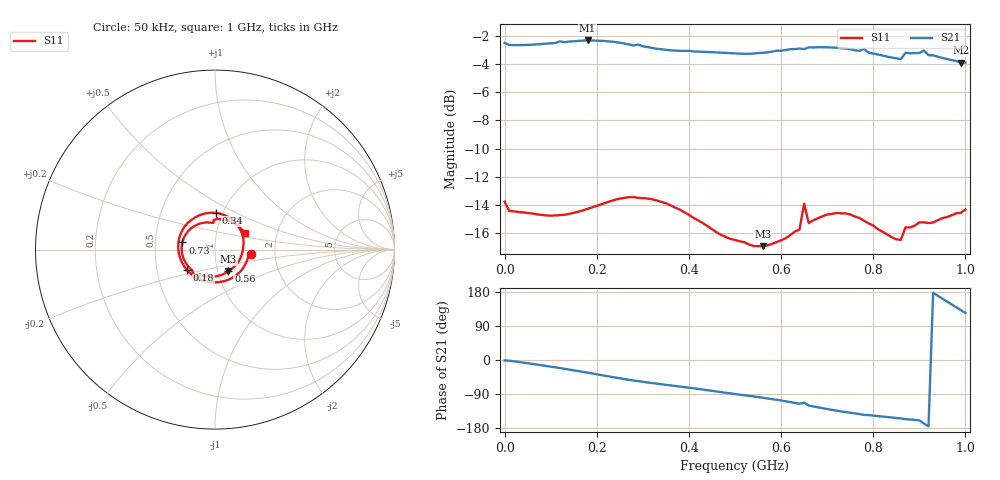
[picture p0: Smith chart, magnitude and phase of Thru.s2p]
# HZ S RI R 50
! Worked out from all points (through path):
!   101 points, 50 kHz to 1 GHz, reference 50 ohm
!   highest |S21| = -2.31 dB at 180 MHz (marker M1); lowest = -3.9 dB at 990 MHz (marker M2)
!   group delay of S21, straight-line fit = 545 ps
!   lowest |S11| = -16.9 dB at 560 MHz (marker M3), VSWR 1.33, Z = 56.3 - j13.9 ohm
!   |S11| at or under -10 dB: start of sweep to end of sweep
!   S12 and S22 are empty: the file has one direction only
!   S11 on the Smith chart (normalised r, x): 50 kHz: 1.51, -0.08; 180 MHz: 0.72, -0.17; 340 MHz: 0.93, +0.40; 560 MHz: 1.13, -0.28; 730 MHz: 0.69, +0.06; 1 GHz: 1.37, +0.27
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50000  0.2032 -0.0258  0.7515 -0.0173  0 0  0 0
9.00455e7  0.0496 -0.1761  0.7191 -0.2026  0 0  0 0
1.700415e8  -0.1359 -0.1337  0.6543 -0.3982  0 0  0 0
1.80041e8  -0.1546 -0.1156  0.6401 -0.4222  0 0  0 0
2.500375e8  -0.1976 0.0709  0.5005 -0.5619  0 0  0 0
3.00035e8  -0.1083 0.1807  0.3928 -0.6162  0 0  0 0
3.40033e8  0.00401 0.2044  0.3135 -0.6409  0 0  0 0
4.100295e8  0.1418 0.1097  0.1865 -0.6758  0 0  0 0
5.00025e8  0.1429 -0.044  0.00231 -0.6901  0 0  0 0
5.60022e8  0.0752 -0.1207  -0.115 -0.6834  0 0  0 0
6.40018e8  -0.0848 -0.139  -0.3096 -0.6477  0 0  0 0
6.500175e8  -0.1088 -0.1694  -0.273 -0.6599  0 0  0 0
6.60017e8  -0.1273 -0.1152  -0.3645 -0.6262  0 0  0 0
6.700165e8  -0.1456 -0.0984  -0.3898 -0.6104  0 0  0 0
7.300135e8  -0.1817 0.0396  -0.5138 -0.5035  0 0  0 0
7.80011e8  -0.1184 0.129  -0.5859 -0.4107  0 0  0 0
8.40008e8  -0.0289 0.1503  -0.5871 -0.3166  0 0  0 0
9.00005e8  0.0116 0.1724  -0.6462 -0.2471  0 0  0 0
9.100045e8  0.0112 0.1725  -0.6895 -0.1504  0 0  0 0
9.40003e8  0.0617 0.1647  -0.6602 0.121  0 0  0 0
9.900005e8  0.1489 0.1128  -0.4256 0.4774  0 0  0 0
1e9  0.1673 0.0941  -0.3575 0.5305  0 0  0 0
